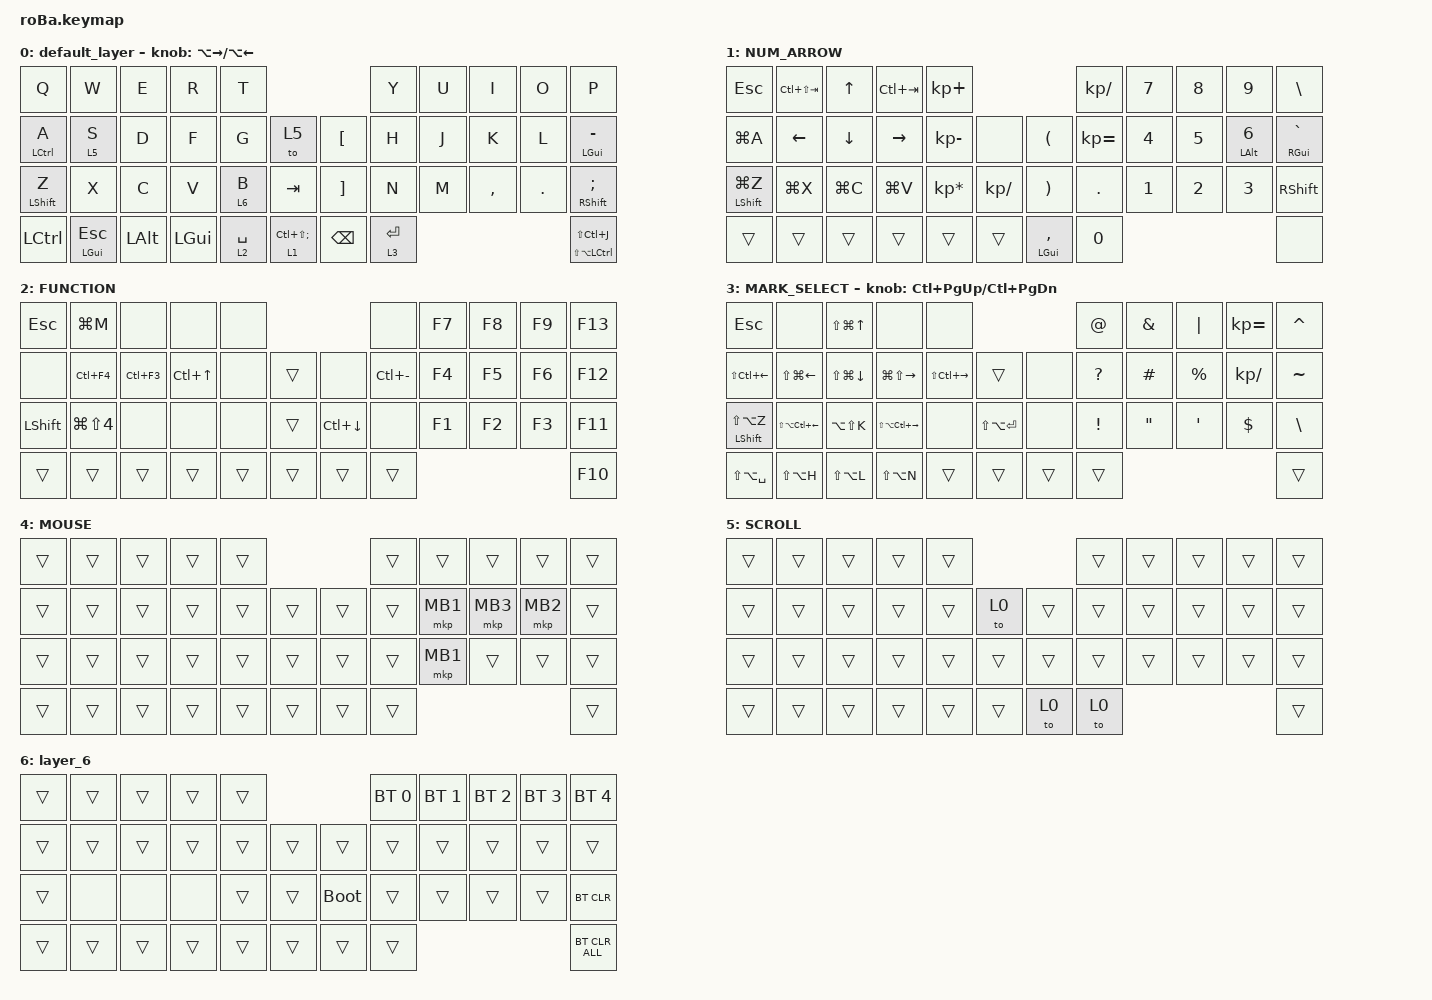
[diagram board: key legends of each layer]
#include <behaviors.dtsi>
#include <dt-bindings/zmk/bt.h>
#include <dt-bindings/zmk/keys.h>
#include <dt-bindings/zmk/pointing.h>

#define MOUSE 4
#define SCROLL 5
#define NUM 6

&mt {
    flavor = "balanced";
    quick-tap-ms = <0>;
    tapping-term-ms = <400>;
};

/ {
    combos {
        compatible = "zmk,combos";

        tab {
            bindings = <&kp TAB>;
            key-positions = <11 12>;
        };

        shift_tab {
            bindings = <&kp LS(TAB)>;
            key-positions = <12 13>;
        };

        muhennkann {
            bindings = <&to_layer_0 INT_MUHENKAN>;
            key-positions = <11 10>;
        };

        double_quotation {
            bindings = <&kp DOUBLE_QUOTES>;
            key-positions = <20 21>;
        };

        eq {
            bindings = <&kp EQUAL>;
            key-positions = <24 25>;
        };
    };

    macros {
        to_layer_0: to_layer_0 {
            compatible = "zmk,behavior-macro-one-param";
            #binding-cells = <1>;
            bindings = <&to 0 &macro_param_1to1 &kp MACRO_PLACEHOLDER>;
            label = "TO_LAYER_0";
        };
    };

    behaviors {
        lt_to_layer_0: lt_to_layer_0 {
            compatible = "zmk,behavior-hold-tap";
            label = "LAYER_TAP_TO_0";
            bindings = <&mo>, <&to_layer_0>;

            #binding-cells = <2>;
            tapping-term-ms = <200>;
        };
    };

    keymap {
        compatible = "zmk,keymap";

        default_layer {
            bindings = <
&kp Q               &kp W                &kp E         &kp R         &kp T                                                   &kp Y        &kp U  &kp I      &kp O    &kp P
&mt LEFT_CONTROL A  &lt 5 S              &kp D         &kp F         &kp G        &to 5                   &kp LEFT_BRACKET   &kp H        &kp J  &kp K      &kp L    &mt LEFT_GUI MINUS
&mt LEFT_SHIFT Z    &kp X                &kp C         &kp V         &lt 6 B      &kp TAB                 &kp RIGHT_BRACKET  &kp N        &kp M  &kp COMMA  &kp DOT  &mt RSHFT SEMI
&kp LCTRL           &mt LEFT_GUI ESCAPE  &kp LEFT_ALT  &kp LEFT_GUI  &lt 2 SPACE  &lt 1 LC(LS(SEMI))      &kp BACKSPACE      &lt 3 ENTER                             &mt LS(LA(LEFT_CONTROL)) LS(LC(J))
            >;

            sensor-bindings = <&inc_dec_kp LA(RIGHT) LA(LEFT)>;
        };

        NUM_ARROW {
            bindings = <
&kp ESCAPE            &kp LC(LS(TAB))  &kp UP_ARROW    &kp LC(TAB)      &kp KP_PLUS                                               &kp KP_SLASH  &kp NUMBER_7  &kp NUMBER_8  &kp NUMBER_9           &kp BACKSLASH
&kp LG(A)             &kp LEFT         &kp DOWN_ARROW  &kp RIGHT_ARROW  &kp KP_MINUS     &none             &kp LEFT_PARENTHESIS   &kp KP_EQUAL  &kp NUMBER_4  &kp N5        &mt LEFT_ALT NUMBER_6  &mt RIGHT_GUI GRAVE
&mt LEFT_SHIFT LG(Z)  &kp LG(X)        &kp LG(C)       &kp LG(V)        &kp KP_ASTERISK  &kp KP_SLASH      &kp RIGHT_PARENTHESIS  &kp PERIOD    &kp NUMBER_1  &kp NUMBER_2  &kp NUMBER_3           &kp RIGHT_SHIFT
&trans                &trans           &trans          &trans           &trans           &trans            &mt LEFT_GUI COMMA     &kp NUMBER_0                                                     &none
            >;
        };

        FUNCTION {
            bindings = <
&kp ESCAPE      &kp LG(M)             &none       &none             &none                             &none          &kp F7  &kp F8  &kp F9  &kp F13
&none           &kp LC(F4)            &kp LC(F3)  &kp LC(UP_ARROW)  &none   &trans      &none         &kp LC(MINUS)  &kp F4  &kp F5  &kp F6  &kp F12
&kp LEFT_SHIFT  &kp LG(LS(NUMBER_4))  &none       &none             &none   &trans      &kp LC(DOWN)  &none          &kp F1  &kp F2  &kp F3  &kp F11
&trans          &trans                &trans      &trans            &trans  &trans      &trans        &trans                                 &kp F10
            >;
        };

        MARK_SELECT {
            bindings = <
&kp ESCAPE                &none                       &kp LS(LG(UP_ARROW))    &none                        &none                                                   &kp AT_SIGN  &kp AMPERSAND      &kp PIPE          &kp KP_EQUAL  &kp CARET
&kp LS(LC(LEFT_ARROW))    &kp LS(LG(LEFT_ARROW))      &kp LS(LG(DOWN_ARROW))  &kp LG(LS(RIGHT_ARROW))      &kp LS(LC(RIGHT_ARROW))  &trans                 &none   &kp QMARK    &kp HASH           &kp PERCENT       &kp KP_SLASH  &kp TILDE
&mt LEFT_SHIFT LS(LA(Z))  &kp LS(LA(LC(LEFT_ARROW)))  &kp LA(LS(K))           &kp LS(LA(LC(RIGHT_ARROW)))  &none                    &kp LS(LA(ENTER))      &none   &kp EXCL     &kp DOUBLE_QUOTES  &kp SINGLE_QUOTE  &kp DOLLAR    &kp BACKSLASH
&kp LS(LA(SPACE))         &kp LS(LA(H))               &kp LS(LA(L))           &kp LS(LA(N))                &trans                   &trans                 &trans  &trans                                                          &trans
            >;

            sensor-bindings = <&inc_dec_kp LC(PAGE_UP) LC(PAGE_DOWN)>;
        };

        MOUSE {
            bindings = <
&trans  &trans  &trans  &trans  &trans                      &trans  &trans    &trans    &trans    &trans
&trans  &trans  &trans  &trans  &trans  &trans      &trans  &trans  &mkp MB1  &mkp MB3  &mkp MB2  &trans
&trans  &trans  &trans  &trans  &trans  &trans      &trans  &trans  &mkp MB1  &trans    &trans    &trans
&trans  &trans  &trans  &trans  &trans  &trans      &trans  &trans                                &trans
            >;
        };

        SCROLL {
            bindings = <
&trans  &trans  &trans  &trans  &trans                      &trans  &trans  &trans  &trans  &trans
&trans  &trans  &trans  &trans  &trans  &to 0       &trans  &trans  &trans  &trans  &trans  &trans
&trans  &trans  &trans  &trans  &trans  &trans      &trans  &trans  &trans  &trans  &trans  &trans
&trans  &trans  &trans  &trans  &trans  &trans      &to 0   &to 0                           &trans
            >;
        };

        layer_6 {
            bindings = <
&trans  &trans  &trans  &trans  &trans                           &bt BT_SEL 0  &bt BT_SEL 1  &bt BT_SEL 2  &bt BT_SEL 3  &bt BT_SEL 4
&trans  &trans  &trans  &trans  &trans  &trans      &trans       &trans        &trans        &trans        &trans        &trans
&trans  &none   &none   &none   &trans  &trans      &bootloader  &trans        &trans        &trans        &trans        &bt BT_CLR
&trans  &trans  &trans  &trans  &trans  &trans      &trans       &trans                                                  &bt BT_CLR_ALL
            >;
        };
    };
};
